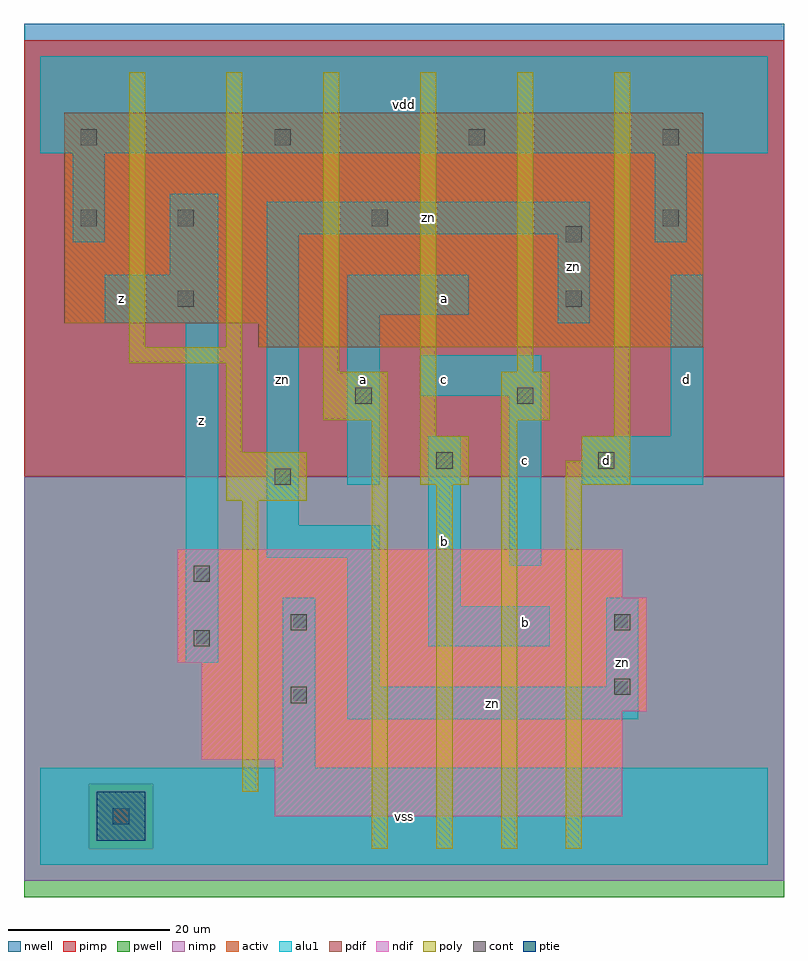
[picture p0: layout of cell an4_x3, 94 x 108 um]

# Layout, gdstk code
import gdstk
lib = gdstk.Library(unit=1e-6, precision=1e-09)
def R(c, l, rs):  # rectangles x0, y0, x1, y1
    for r in rs: c.add(gdstk.rectangle(r[:2], r[2:], *l))
def A(c, l, x, y, w, h, nx, ny, dx, dy):  # array of equal rectangles
    R(c, l, [(x+i*dx, y+j*dy, x+i*dx+w, y+j*dy+h) for i in range(nx) for j in range(ny)])
ndif = (3, 0)
pdif = (4, 0)
ptie = (6, 0)
cont = (25, 0)
pwell = (41, 0)
nwell = (42, 0)
activ = (43, 0)
pimp = (44, 0)
nimp = (45, 0)
poly = (46, 0)
alu1 = (49, 0)

an4_x3 = lib.new_cell('an4_x3')
R(an4_x3, ndif, [(29,6,72,13), (20,13,72,19), (20,19,75,25), (17,25,75,33), (17,33,72,39)])
R(an4_x3, pdif, [(27,64,82,67), (3,67,82,93)])
R(an4_x3, ptie, [(7,3,13,9)])
A(an4_x3, cont, 5, 89, 2, 2, 4, 1, 24, 0)
R(an4_x3, cont, [(9,5,11,7), (31,20,33,22), (71,21,73,23), (19,27,21,29), (31,29,33,31), (71,29,73,31), (19,35,21,37), (29,47,31,49), (49,49,51,51), (69,49,71,51), (39,57,41,59), (59,57,61,59), (17,69,19,71), (65,69,67,71), (65,77,67,79), (5,79,7,81), (17,79,19,81), (41,79,43,81), (77,79,79,81)])
R(an4_x3, pwell, [(-2,-4,92,48)])
R(an4_x3, nwell, [(-2,48,92,104)])
R(an4_x3, activ, [(7,3,13,9), (29,6,72,13), (20,13,72,19), (20,19,75,25), (17,25,75,33), (17,33,72,39), (27,64,82,67), (3,67,82,93)])
R(an4_x3, pimp, [(6,2,14,10), (-2,48,92,102)])
R(an4_x3, nimp, [(-2,-2,92,2), (-2,2,6,10), (14,2,92,10), (-2,10,92,48)])
R(an4_x3, poly, [(41,2,43,55), (49,2,51,47), (57,2,59,55), (65,2,67,47), (25,9,27,45), (23,45,33,51), (47,47,53,53), (65,47,73,50), (67,50,73,53), (23,51,25,62), (47,53,49,98), (71,53,73,98), (35,55,43,61), (57,55,63,61), (35,61,37,98), (59,61,61,98), (11,62,25,64), (11,64,13,98), (23,64,25,98)])
R(an4_x3, alu1, [(0,0,90,12), (30,12,34,33), (38,18,74,22), (38,22,42,38), (70,22,74,33), (18,25,22,67), (48,27,63,32), (48,32,52,53), (58,37,62,58), (28,38,42,42), (28,42,32,78), (38,47,42,68), (67,47,82,53), (78,53,82,73), (47,58,62,63), (8,67,22,73), (64,67,68,78), (38,68,53,73), (16,73,22,83), (4,77,8,88), (76,77,80,88), (28,78,68,82), (0,88,90,100)])
an4_x3.add(gdstk.Label('z', (10,70), layer=49, texttype=0))
an4_x3.add(gdstk.Label('z', (20,55), layer=49, texttype=0))
an4_x3.add(gdstk.Label('zn', (30,60), layer=49, texttype=0))
an4_x3.add(gdstk.Label('vss', (45,6), layer=49, texttype=0))
an4_x3.add(gdstk.Label('b', (50,40), layer=49, texttype=0))
an4_x3.add(gdstk.Label('a', (40,60), layer=49, texttype=0))
an4_x3.add(gdstk.Label('c', (50,60), layer=49, texttype=0))
an4_x3.add(gdstk.Label('a', (50,70), layer=49, texttype=0))
an4_x3.add(gdstk.Label('vdd', (45,94), layer=49, texttype=0))
an4_x3.add(gdstk.Label('b', (60,30), layer=49, texttype=0))
an4_x3.add(gdstk.Label('c', (60,50), layer=49, texttype=0))
an4_x3.add(gdstk.Label('d', (70,50), layer=49, texttype=0))
an4_x3.add(gdstk.Label('zn', (66,74), layer=49, texttype=0))
an4_x3.add(gdstk.Label('zn', (48,80), layer=49, texttype=0))
an4_x3.add(gdstk.Label('zn', (72,25), layer=49, texttype=0))
an4_x3.add(gdstk.Label('zn', (56,20), layer=49, texttype=0))
an4_x3.add(gdstk.Label('d', (80,60), layer=49, texttype=0))

lib.write_gds('an4_x3.gds')
